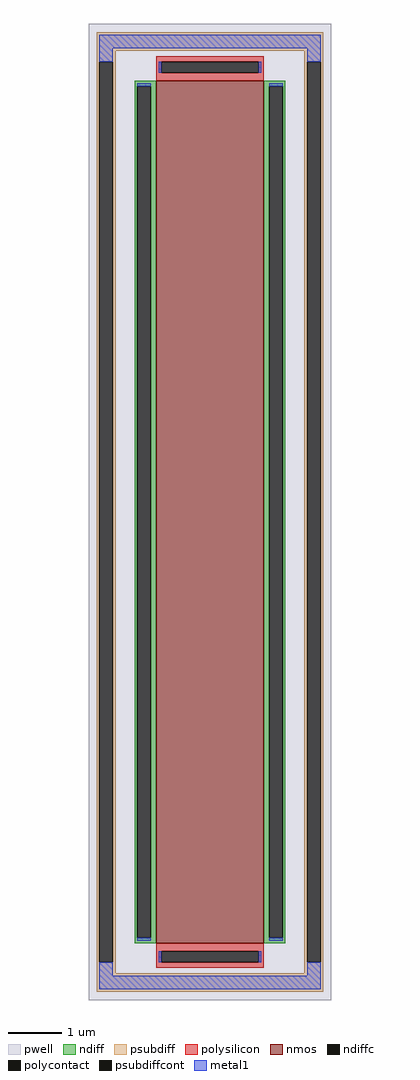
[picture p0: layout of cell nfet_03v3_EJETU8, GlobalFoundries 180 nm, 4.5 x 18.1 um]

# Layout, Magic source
magic
tech gf180mcuD
<< pwell >>
rect -45 -181 45 181
<< nmos >>
rect -20 -160 20 160
<< ndiff >>
rect -28 158 -20 160
rect -28 -158 -27 158
rect -22 -158 -20 158
rect -28 -160 -20 -158
rect 20 158 28 160
rect 20 -158 22 158
rect 27 -158 28 158
rect 20 -160 28 -158
<< ndiffc >>
rect -27 -158 -22 158
rect 22 -158 27 158
<< psubdiff >>
rect -42 171 42 178
rect -42 167 -35 171
rect -42 -167 -41 167
rect -36 -167 -35 167
rect 35 167 42 171
rect -42 -171 -35 -167
rect 35 -167 36 167
rect 41 -167 42 167
rect 35 -171 42 -167
rect -42 -178 42 -171
<< psubdiffcont >>
rect -41 -167 -36 167
rect 36 -167 41 167
<< polysilicon >>
rect -20 167 20 169
rect -20 163 -18 167
rect 18 163 20 167
rect -20 160 20 163
rect -20 -163 20 -160
rect -20 -167 -18 -163
rect 18 -167 20 -163
rect -20 -169 20 -167
<< polycontact >>
rect -18 163 18 167
rect -18 -167 18 -163
<< metal1 >>
rect -41 172 41 177
rect -41 167 -36 172
rect -19 163 -18 167
rect 18 163 19 167
rect 36 167 41 172
rect -27 158 -22 159
rect -27 -159 -22 -158
rect 22 158 27 159
rect 22 -159 27 -158
rect -41 -172 -36 -167
rect -19 -167 -18 -163
rect 18 -167 19 -163
rect 36 -172 41 -167
rect -41 -177 41 -172
<< properties >>
string FIXED_BBOX -39 -175 39 175
string gencell nfet_03v3
string library gf180mcu
string parameters w 16.0 l 2.0 m 1 nf 1 diffcov 100 polycov 100 guard 1 glc 1 grc 1 gtc 0 gbc 0 tbcov 100 rlcov 100 topc 1 botc 1 poverlap 0 doverlap 1 lmin 0.28 wmin 0.22 class mosfet full_metal 1 compatible {nfet_03v3 nfet_05v0 nfet_06v0 nfet_06v0_nvt} ad int((nf+1)/2)*W/nf*0.18u as int((nf+2)/2)*W/nf*0.18u pd 2*int((nf+1)/2)*(W/nf+0.18u) ps 2*int((nf+2)/2)*(W/nf+0.18u) nrd 0.18u/W nrs 0.18u/W sa 0 sb 0 sd 0
<< end >>
